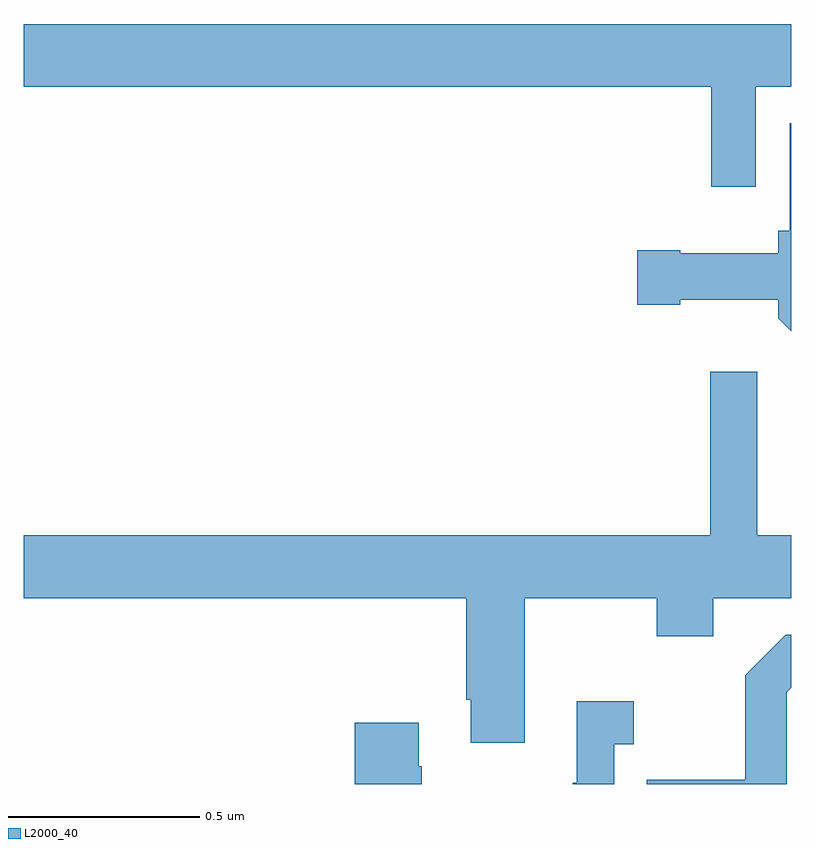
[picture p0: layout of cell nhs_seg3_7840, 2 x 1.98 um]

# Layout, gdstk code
import gdstk
lib = gdstk.Library(unit=1e-6, precision=1e-09)
def P(c, l, *ps):  # polygons
    for p in ps: c.add(gdstk.Polygon(p, *l))
L2000_40 = (2000, 40)

nhs_seg3_7840 = lib.new_cell('nhs_seg3_7840')
P(nhs_seg3_7840, L2000_40, [(209.907,734.216),(210,734.216),(210,734.38),(208,734.38),(208,734.216),(209.791,734.216),(209.791,733.956),(209.907,733.956)],
  [(210,734.122),(209.996,734.122),(209.996,733.842),(209.966,733.842),(209.966,733.783),(209.71,733.783),(209.71,733.791),(209.598,733.791),(209.598,733.649),(209.71,733.649),(209.71,733.661),(209.966,733.661),(209.966,733.614),(210,733.58)],
  [(209.305,732.884),(209.65,732.884),(209.65,732.785),(209.797,732.785),(209.797,732.884),(210,732.884),(210,733.048),(209.911,733.048),(209.911,733.474),(209.789,733.474),(209.789,733.048),(208,733.048),(208,732.884),(209.153,732.884),(209.153,732.619),(209.165,732.619),(209.165,732.507),(209.305,732.507)],
  [(209.988,732.639),(210,732.651),(210,732.789),(209.985,732.789),(209.88,732.683),(209.88,732.411),(209.623,732.411),(209.623,732.4),(209.988,732.4)],
  [(209.538,732.503),(209.59,732.503),(209.59,732.616),(209.441,732.616),(209.441,732.403),(209.43,732.403),(209.43,732.4),(209.538,732.4)],
  [(209.037,732.446),(209.029,732.446),(209.029,732.559),(208.862,732.559),(208.862,732.4),(209.037,732.4)])

lib.write_gds('nhs_seg3_7840.gds')
